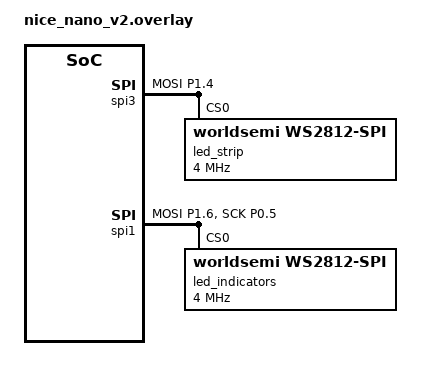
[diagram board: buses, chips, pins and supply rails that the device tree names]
#include <dt-bindings/led/led.h>

&pinctrl {
    spi3_default: spi3_default {
        group1 {
            psels = <NRF_PSEL(SPIM_MOSI, 1, 4)>;
        };
    };

    spi3_sleep: spi3_sleep {
        group1 {
            psels = <NRF_PSEL(SPIM_MOSI, 1, 4)>;
            low-power-enable;
        };
    };
    spi1_default: spi1_default {
        group1 {
            psels = <NRF_PSEL(SPIM_MOSI, 1, 6)> ,
            <NRF_PSEL(SPIM_SCK, 0, 5)>;
            
        };
    };

    spi1_sleep: spi1_sleep {
        group1 {
            psels = <NRF_PSEL(SPIM_MOSI, 1, 6)>,
            <NRF_PSEL(SPIM_SCK, 0, 5)>;
            low-power-enable;
        };
    };
};

&spi3 {
    compatible = "nordic,nrf-spim";
    status = "okay";

    pinctrl-0 = <&spi3_default>;
    pinctrl-1 = <&spi3_sleep>;
    pinctrl-names = "default", "sleep";

    led_strip: ws2812@0 {
        compatible = "worldsemi,ws2812-spi";

        /* SPI */
        reg = <0>; /* ignored, but necessary for SPI bindings */
        spi-max-frequency = <4000000>;

        /* WS2812 */
        chain-length = <18>; /* arbitrary; change at will */
        spi-one-frame = <0x70>;
        spi-zero-frame = <0x40>;

        color-mapping = <LED_COLOR_ID_GREEN LED_COLOR_ID_RED LED_COLOR_ID_BLUE>;
    };
};
&spi1 {
    compatible = "nordic,nrf-spim";
    status = "okay";

    pinctrl-0 = <&spi1_default>;
    pinctrl-1 = <&spi1_sleep>;
    pinctrl-names = "default", "sleep";

    led_indicators: ws2812@1 {
        compatible = "worldsemi,ws2812-spi";

        /* SPI */
        reg = <0>; /* ignored, but necessary for SPI bindings */
        spi-max-frequency = <4000000>;

        /* WS2812 */
        chain-length = <4>; /* arbitrary; change at will */
        spi-one-frame = <0x70>;
        spi-zero-frame = <0x40>;

        color-mapping = <LED_COLOR_ID_GREEN LED_COLOR_ID_RED LED_COLOR_ID_BLUE>;
    };
};
/ {
    chosen {
        zmk,underglow = &led_strip;
        zmk,indicators = &led_indicators;
    };
};
